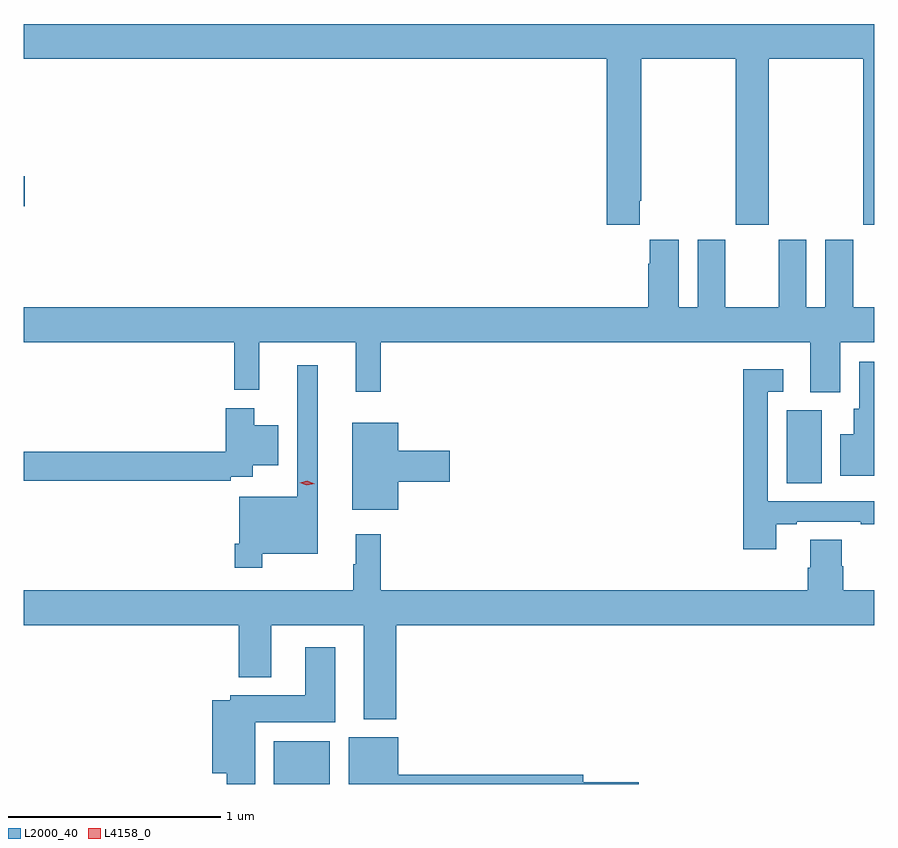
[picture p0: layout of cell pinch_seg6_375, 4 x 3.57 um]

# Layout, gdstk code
import gdstk
lib = gdstk.Library(unit=1e-6, precision=1e-09)
def R(c, l, rs):  # rectangles x0, y0, x1, y1
    for r in rs: c.add(gdstk.rectangle(r[:2], r[2:], *l))
def P(c, l, *ps):  # polygons
    for p in ps: c.add(gdstk.Polygon(p, *l))
L2000_40 = (2000, 40)
L4158_0 = (4158, 0)

pinch_seg6_375 = lib.new_cell('pinch_seg6_375')
R(pinch_seg6_375, L2000_40, [(670.178,950.586,670.441,950.788), (672.59,952,672.754,952.344), (669.001,953.302,669.007,953.444)])
P(pinch_seg6_375, L2000_40, [(671.899,953.329),(671.904,953.329),(671.904,953.996),(672.349,953.996),(672.349,953.217),(672.504,953.217),(672.504,953.996),(672.949,953.996),(672.949,953.217),(673.001,953.217),(673.001,954.16),(669.001,954.16),(669.001,953.996),(671.744,953.996),(671.744,953.217),(671.899,953.217)],
  [(672.841,952.664),(673.001,952.664),(673.001,952.828),(672.901,952.828),(672.901,953.146),(672.77,953.146),(672.77,952.828),(672.682,952.828),(672.682,953.146),(672.551,953.146),(672.551,952.828),(672.301,952.828),(672.301,953.146),(672.17,953.146),(672.17,952.828),(672.082,952.828),(672.082,953.146),(671.945,953.146),(671.945,953.033),(671.939,953.033),(671.939,952.828),(669.001,952.828),(669.001,952.664),(669.991,952.664),(669.991,952.439),(670.109,952.439),(670.109,952.664),(670.562,952.664),(670.562,952.431),(670.679,952.431),(670.679,952.664),(672.701,952.664),(672.701,952.429),(672.841,952.429)],
  [(673.001,952.572),(672.93,952.572),(672.93,952.35),(672.905,952.35),(672.905,952.231),(672.842,952.231),(672.842,952.035),(673.001,952.035)],
  [(670.123,951.668),(670.384,951.668),(670.384,952.555),(670.287,952.555),(670.287,951.937),(670.014,951.937),(670.014,951.715),(669.994,951.715),(669.994,951.603),(670.123,951.603)],
  [(672.541,951.807),(672.637,951.807),(672.637,951.819),(672.937,951.819),(672.937,951.807),(673.001,951.807),(673.001,951.915),(672.501,951.915),(672.501,952.431),(672.574,952.431),(672.574,952.537),(672.385,952.537),(672.385,951.69),(672.541,951.69)],
  [(669.974,952.032),(670.078,952.032),(670.078,952.085),(670.198,952.085),(670.198,952.273),(670.084,952.273),(670.084,952.354),(669.95,952.354),(669.95,952.148),(669.001,952.148),(669.001,952.012),(669.974,952.012)],
  [(670.762,952.007),(671.005,952.007),(671.005,952.154),(670.762,952.154),(670.762,952.285),(670.547,952.285),(670.547,951.875),(670.762,951.875)],
  [(670.679,951.76),(670.562,951.76),(670.562,951.62),(670.551,951.62),(670.551,951.496),(669.001,951.496),(669.001,951.332),(670.013,951.332),(670.013,951.089),(670.165,951.089),(670.165,951.332),(670.601,951.332),(670.601,950.891),(670.754,950.891),(670.754,951.332),(673.001,951.332),(673.001,951.496),(672.854,951.496),(672.854,951.609),(672.849,951.609),(672.849,951.734),(672.701,951.734),(672.701,951.602),(672.689,951.602),(672.689,951.496),(670.679,951.496)],
  [(670.09,950.876),(670.465,950.876),(670.465,951.229),(670.325,951.229),(670.325,951.004),(669.972,951.004),(669.972,950.98),(669.887,950.98),(669.887,950.636),(669.956,950.636),(669.956,950.586),(670.09,950.586)],
  [(671.893,950.594),(671.632,950.594),(671.632,950.63),(670.762,950.63),(670.762,950.806),(670.529,950.806),(670.529,950.586),(671.893,950.586)])
P(pinch_seg6_375, L4158_0, [(670.333,951.991),(670.298,952.003),(670.297,952.003),(670.298,952.003),(670.334,952.011),(670.369,951.999),(670.369,951.999),(670.369,951.999)])

lib.write_gds('pinch_seg6_375.gds')
